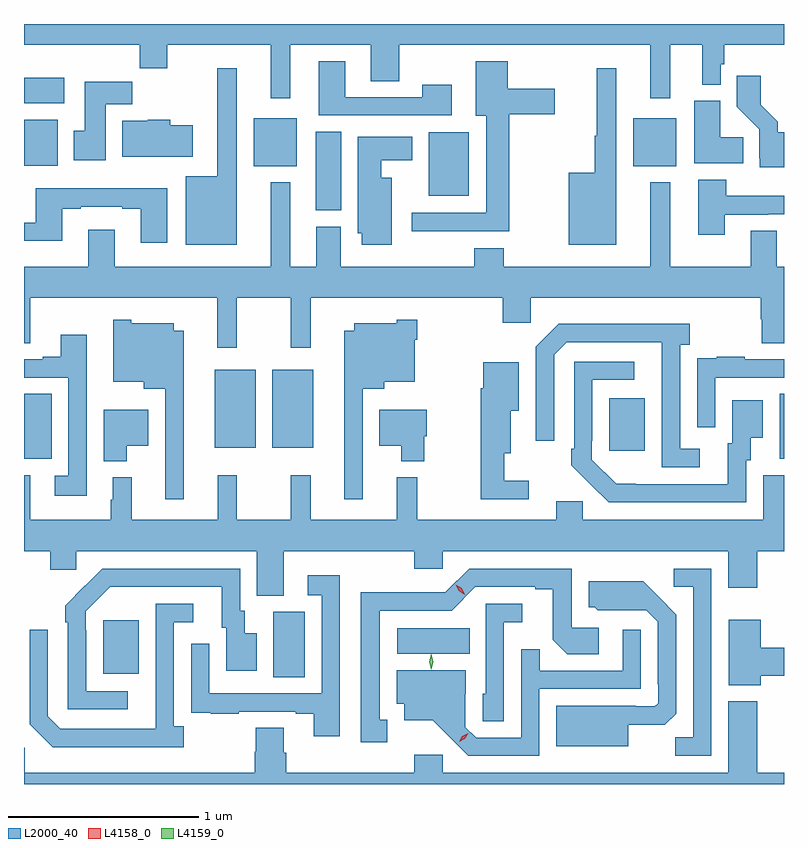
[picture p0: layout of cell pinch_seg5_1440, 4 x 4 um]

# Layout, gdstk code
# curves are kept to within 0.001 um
import gdstk
lib = gdstk.Library(unit=1e-6, precision=1e-09)
def R(c, l, rs):  # rectangles x0, y0, x1, y1
    for r in rs: c.add(gdstk.rectangle(r[:2], r[2:], *l))
def P(c, l, *ps):  # polygons
    for p in ps: c.add(gdstk.Polygon(p, *l))
L2000_40 = (2000, 40)
L4158_0 = (4158, 0)
L4159_0 = (4159, 0)

pinch_seg5_1440 = lib.new_cell('pinch_seg5_1440')
R(pinch_seg5_1440, L2000_40, [(123.848,893.392,124.012,893.736), (122.951,893.411,123.139,893.692), (124.5,893.516,124.88,893.65), (122.535,894.541,122.68,894.884), (126.512,894.541,126.535,894.884), (125.615,894.585,125.803,894.859), (123.539,894.599,123.754,895.009), (123.842,894.599,124.057,895.009), (124.07,895.849,124.204,896.264), (124.664,895.925,124.876,896.26), (123.743,896.081,123.97,896.335), (125.741,896.081,125.968,896.335), (122.535,896.084,122.713,896.326), (122.535,896.414,122.746,896.548)])
P(pinch_seg5_1440, L2000_40, [(123.937,896.72),(124.361,896.72),(124.361,896.53),(124.509,896.53),(124.509,896.72),(125.831,896.72),(125.831,896.439),(125.935,896.439),(125.935,896.72),(126.104,896.72),(126.104,896.51),(126.201,896.51),(126.201,896.619),(126.221,896.619),(126.221,896.72),(126.535,896.72),(126.535,896.83),(122.535,896.83),(122.535,896.72),(123.145,896.72),(123.145,896.596),(123.289,896.596),(123.289,896.72),(123.833,896.72),(123.833,896.439),(123.937,896.439)],
  [(124.786,896.509),(124.63,896.509),(124.63,896.445),(124.225,896.445),(124.225,896.635),(124.085,896.635),(124.085,896.349),(124.786,896.349)],
  [(125.088,896.354),(125.329,896.354),(125.329,896.488),(125.08,896.488),(125.08,896.635),(124.913,896.635),(124.913,896.348),(124.967,896.348),(124.967,895.836),(124.575,895.836),(124.575,895.739),(125.088,895.739)],
  [(123.655,896.596),(123.551,896.596),(123.551,896.029),(123.386,896.029),(123.386,895.667),(123.655,895.667)],
  [(125.653,896.596),(125.549,896.596),(125.549,896.243),(125.539,896.243),(125.539,896.047),(125.402,896.047),(125.402,895.667),(125.653,895.667)],
  [(126.535,896.26),(126.502,896.26),(126.502,896.315),(126.412,896.405),(126.412,896.557),(126.286,896.557),(126.286,896.394),(126.405,896.275),(126.405,896.124),(126.407,896.124),(126.407,896.075),(126.535,896.075)],
  [(122.965,896.408),(123.104,896.408),(123.104,896.527),(122.855,896.527),(122.855,896.268),(122.798,896.268),(122.798,896.112),(122.965,896.112)],
  [(126.32,896.234),(126.199,896.234),(126.199,896.425),(126.062,896.425),(126.062,896.096),(126.32,896.096)],
  [(123.424,896.298),(123.304,896.298),(123.304,896.326),(123.186,896.326),(123.186,896.32),(123.053,896.32),(123.053,896.132),(123.424,896.132)],
  [(124.471,896.02),(124.414,896.02),(124.414,896.114),(124.579,896.114),(124.579,896.236),(124.292,896.236),(124.292,895.728),(124.313,895.728),(124.313,895.668),(124.471,895.668)],
  [(126.223,895.827),(126.452,895.827),(126.452,895.83),(126.535,895.83),(126.535,895.927),(126.231,895.927),(126.231,896.011),(126.083,896.011),(126.083,895.722),(126.223,895.722)],
  [(123.656,895.388),(123.94,895.388),(123.94,895.125),(124.044,895.125),(124.044,895.388),(125.056,895.388),(125.056,895.257),(125.202,895.257),(125.202,895.388),(126.413,895.388),(126.413,895.275),(126.418,895.275),(126.418,895.15),(126.535,895.15),(126.535,895.552),(126.498,895.552),(126.498,895.742),(126.359,895.742),(126.359,895.552),(125.935,895.552),(125.935,895.996),(125.831,895.996),(125.831,895.552),(125.061,895.552),(125.061,895.651),(124.906,895.651),(124.906,895.552),(124.201,895.552),(124.201,895.764),(124.073,895.764),(124.073,895.552),(123.937,895.552),(123.937,895.996),(123.833,895.996),(123.833,895.552),(123.013,895.552),(123.013,895.747),(122.873,895.747),(122.873,895.552),(122.535,895.552),(122.535,895.15),(122.569,895.15),(122.569,895.388),(123.553,895.388),(123.553,895.125),(123.656,895.125)],
  [(123.289,895.966),(122.597,895.966),(122.597,895.785),(122.535,895.785),(122.535,895.688),(122.737,895.688),(122.737,895.857),(122.833,895.857),(122.833,895.869),(123.053,895.869),(123.053,895.857),(123.149,895.857),(123.149,895.68),(123.289,895.68)],
  [(124.317,894.911),(124.432,894.911),(124.432,894.947),(124.591,894.947),(124.591,895.169),(124.605,895.169),(124.605,895.273),(124.497,895.273),(124.497,895.255),(124.274,895.255),(124.274,895.216),(124.22,895.216),(124.22,894.33),(124.317,894.33)],
  [(123.376,895.216),(123.322,895.216),(123.322,895.255),(123.099,895.255),(123.099,895.273),(123.005,895.273),(123.005,894.947),(123.164,894.947),(123.164,894.911),(123.279,894.911),(123.279,894.33),(123.376,894.33)],
  [(126.091,894.594),(125.988,894.594),(125.988,895.142),(126.04,895.142),(126.04,895.252),(125.35,895.252),(125.229,895.131),(125.229,894.636),(125.325,894.636),(125.325,895.089),(125.391,895.155),(125.891,895.155),(125.892,894.498),(126.091,894.498)],
  [(122.865,894.972),(122.866,894.972),(122.866,895.195),(122.729,895.195),(122.729,895.078),(122.633,895.078),(122.633,895.065),(122.535,895.065),(122.535,894.969),(122.769,894.969),(122.769,894.453),(122.697,894.453),(122.697,894.348),(122.865,894.348)],
  [(126.174,894.969),(126.535,894.969),(126.535,895.065),(126.329,895.065),(126.329,895.078),(126.181,895.078),(126.181,895.071),(126.079,895.071),(126.079,894.962),(126.078,894.962),(126.078,894.708),(126.174,894.708)],
  [(126.336,894.534),(126.361,894.534),(126.361,894.653),(126.424,894.653),(126.424,894.85),(126.263,894.85),(126.263,894.624),(126.239,894.624),(126.239,894.408),(125.652,894.409),(125.523,894.537),(125.523,894.637),(125.526,894.637),(125.526,894.957),(125.746,894.957),(125.746,895.053),(125.43,895.053),(125.43,894.595),(125.415,894.595),(125.415,894.507),(125.612,894.312),(126.336,894.312)],
  [(125.191,894.427),(125.062,894.427),(125.062,894.572),(125.098,894.572),(125.098,894.794),(125.14,894.794),(125.14,895.051),(124.952,895.051),(124.952,894.912),(124.94,894.912),(124.94,894.33),(125.191,894.33)],
  [(123.076,894.611),(123.19,894.611),(123.19,894.799),(122.954,894.799),(122.954,894.53),(123.076,894.53)],
  [(124.642,894.66),(124.654,894.66),(124.654,894.799),(124.406,894.799),(124.406,894.611),(124.52,894.611),(124.52,894.53),(124.642,894.53)],
  [(123.901,894.056),(124.589,894.056),(124.589,893.963),(124.74,893.963),(124.74,894.056),(126.242,894.056),(126.242,893.862),(126.395,893.862),(126.395,894.056),(126.535,894.056),(126.535,894.456),(126.425,894.456),(126.425,894.22),(125.475,894.22),(125.475,894.318),(125.336,894.318),(125.336,894.22),(124.606,894.22),(124.606,894.445),(124.496,894.445),(124.496,894.22),(124.043,894.22),(124.043,894.454),(123.94,894.454),(123.94,894.22),(123.656,894.22),(123.656,894.454),(123.554,894.454),(123.554,894.22),(123.101,894.22),(123.101,894.445),(123.002,894.445),(123.002,894.327),(122.991,894.327),(122.991,894.22),(122.569,894.22),(122.569,894.456),(122.535,894.456),(122.535,894.056),(122.672,894.056),(122.672,893.958),(122.811,893.958),(122.811,894.056),(123.761,894.056),(123.761,893.821),(123.901,893.821)],
  [(123.082,893.319),(122.862,893.319),(122.862,893.639),(122.859,893.639),(122.859,893.739),(122.988,893.868),(123.575,893.868),(123.575,893.652),(123.599,893.652),(123.599,893.427),(123.76,893.427),(123.76,893.623),(123.697,893.623),(123.697,893.742),(123.672,893.742),(123.672,893.964),(122.948,893.964),(122.751,893.769),(122.751,893.681),(122.766,893.681),(122.766,893.223),(123.082,893.223)],
  [(124.447,893.169),(124.408,893.169),(124.408,893.742),(124.785,893.742),(124.911,893.868),(125.225,893.868),(125.225,893.856),(125.319,893.856),(125.319,893.588),(125.395,893.512),(125.56,893.512),(125.56,893.652),(125.418,893.652),(125.418,893.964),(124.878,893.964),(124.752,893.838),(124.53,893.838),(124.53,893.84),(124.307,893.84),(124.307,893.049),(124.447,893.049)],
  [(126.153,893.964),(125.955,893.964),(125.955,893.868),(126.057,893.868),(126.057,893.075),(125.962,893.075),(125.962,892.98),(126.153,892.98)],
  [(124.197,893.929),(124.029,893.929),(124.029,893.823),(124.101,893.823),(124.101,893.307),(123.51,893.307),(123.51,893.569),(123.414,893.569),(123.414,893.314),(123.415,893.314),(123.415,893.205),(123.517,893.205),(123.517,893.199),(123.665,893.199),(123.665,893.211),(123.965,893.211),(123.965,893.199),(124.061,893.199),(124.061,893.082),(124.197,893.082)],
  [(125.716,893.141),(125.908,893.141),(125.967,893.2),(125.967,893.722),(125.795,893.896),(125.507,893.896),(125.507,893.76),(125.538,893.76),(125.554,893.744),(125.811,893.745),(125.871,893.685),(125.871,893.356),(125.874,893.356),(125.874,893.256),(125.856,893.238),(125.756,893.238),(125.756,893.242),(125.336,893.242),(125.336,893.03),(125.716,893.03)],
  [(123.376,893.134),(123.324,893.134),(123.324,893.682),(123.427,893.682),(123.427,893.778),(123.228,893.778),(123.228,893.121),(122.727,893.121),(122.661,893.187),(122.661,893.641),(122.565,893.641),(122.565,893.145),(122.686,893.024),(123.376,893.024)],
  [(125.061,893.681),(125.158,893.681),(125.158,893.778),(124.965,893.778),(124.965,893.304),(124.95,893.304),(124.95,893.161),(125.061,893.161)],
  [(126.412,893.399),(126.535,893.399),(126.535,893.546),(126.412,893.546),(126.412,893.695),(126.245,893.695),(126.245,893.351),(126.412,893.351)],
  [(125.247,893.331),(125.781,893.331),(125.781,893.641),(125.685,893.641),(125.685,893.427),(125.249,893.427),(125.249,893.54),(125.151,893.54),(125.151,893.073),(124.914,893.073),(124.857,893.13),(124.857,893.304),(124.861,893.304),(124.861,893.428),(124.496,893.428),(124.496,893.252),(124.535,893.252),(124.535,893.165),(124.687,893.165),(124.874,892.98),(125.247,892.98)],
  [(126.535,892.888),(126.395,892.888),(126.395,893.266),(126.242,893.266),(126.242,892.888),(124.74,892.888),(124.74,892.984),(124.589,892.984),(124.589,892.888),(123.914,892.888),(123.914,892.994),(123.901,892.994),(123.901,893.126),(123.754,893.126),(123.754,893.001),(123.749,893.001),(123.749,892.888),(122.538,892.888),(122.538,893.02),(122.535,893.02),(122.535,892.83),(126.535,892.83)])
P(pinch_seg5_1440, L4158_0, [(124.825,893.053),(124.825,893.053),(124.842,893.082),(124.872,893.098),(124.873,893.098),(124.873,893.098),(124.856,893.068),(124.825,893.053)],
  [(124.856,893.826),(124.824,893.846),(124.808,893.879),(124.808,893.879),(124.808,893.879),(124.839,893.86),(124.856,893.827),(124.856,893.826)])
P(pinch_seg5_1440, L4159_0, [(124.678,893.435),(124.678,893.435),(124.669,893.474),(124.679,893.513),(124.679,893.513),(124.679,893.513),(124.689,893.474),(124.678,893.435)])

lib.write_gds('pinch_seg5_1440.gds')
